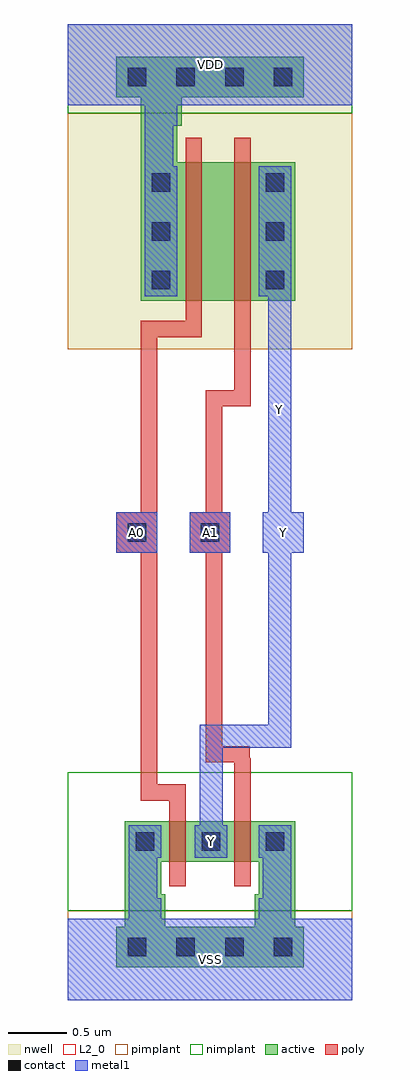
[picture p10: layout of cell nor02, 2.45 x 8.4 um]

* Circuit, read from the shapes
.subckt nor02 A0 A1 VDD VSS Y
M1 Y A0 VSS VSS nfet w=0.35u l=0.14u
M2 VSS A1 Y VSS nfet w=0.35u l=0.14u
M3 n1 A0 VDD VDD pfet w=1.19u l=0.14u
M4 Y A1 n1 VDD pfet w=1.19u l=0.14u
.ends

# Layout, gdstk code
from math import pi, radians
import gdstk
lib = gdstk.Library(unit=1e-6, precision=1e-09)
def R(c, l, rs):  # rectangles x0, y0, x1, y1
    for r in rs: c.add(gdstk.rectangle(r[:2], r[2:], *l))
def A(c, l, x, y, w, h, nx, ny, dx, dy):  # array of equal rectangles
    R(c, l, [(x+i*dx, y+j*dy, x+i*dx+w, y+j*dy+h) for i in range(nx) for j in range(ny)])
def P(c, l, *ps):  # polygons
    for p in ps: c.add(gdstk.Polygon(p, *l))
L2_0 = (2, 0)
nwell = (3, 0)
active = (6, 0)
poly = (17, 0)
pimplant = (25, 0)
nimplant = (26, 0)
contact = (30, 0)
metal1 = (31, 0)

adk_poly_m1 = lib.new_cell('ADK_poly_m1')
R(adk_poly_m1, poly, [(-0.175,-0.175,0.175,0.175)])
R(adk_poly_m1, contact, [(-0.08,-0.08,0.08,0.08)])
R(adk_poly_m1, metal1, [(-0.175,-0.175,0.175,0.175)])

nor02 = lib.new_cell('nor02')
R(nor02, L2_0, [(0,0,2.45,1.96)])
R(nor02, nwell, [(0,5.6,2.45,8.4), (0.14,5.6,2.45,7.63)])
R(nor02, active, [(0.42,0.28,2.03,0.63), (0.49,0.63,0.84,0.91), (1.61,0.63,1.96,0.91), (0.49,0.91,0.805,1.19), (1.645,0.91,1.96,1.19), (0.49,1.19,0.875,1.54), (0.49,1.19,1.96,1.54), (1.575,1.19,1.96,1.54), (0.63,6.02,1.015,7.21), (0.63,6.02,1.96,7.21), (1.575,6.02,1.96,7.21), (0.63,7.21,0.945,7.525), (0.63,7.525,0.98,7.77), (0.42,7.77,2.03,8.12)])
R(nor02, poly, [(0.875,0.98,1.015,1.19), (1.435,0.98,1.575,1.19), (0.875,1.19,1.015,1.54), (1.435,1.19,1.575,1.54), (0.875,1.54,1.015,1.75), (1.435,1.54,1.575,2.08), (1.015,5.81,1.155,6.02), (1.435,5.81,1.575,6.02), (1.015,6.02,1.155,7.21), (1.435,6.02,1.575,7.21), (1.015,7.21,1.155,7.42), (1.435,7.21,1.575,7.42)])
P(nor02, poly, [(1.19,2.045),(1.565,2.045),(1.565,2.185),(1.33,2.185),(1.33,3.85),(1.19,3.85)],
  [(1.19,4.2),(1.33,4.2),(1.33,5.11),(1.575,5.11),(1.575,5.845),(1.435,5.845),(1.435,5.25),(1.19,5.25)],
  [(1.015,1.855),(0.77,1.855),(0.77,3.85),(0.63,3.85),(0.63,1.715),(1.015,1.715)],
  [(1.155,5.845),(0.63,5.845),(0.63,4.2),(0.77,4.2),(0.77,5.705),(1.155,5.705)])
R(nor02, pimplant, [(0,0,2.45,0.77), (0,5.6,2.45,7.63)])
R(nor02, nimplant, [(0,0.77,2.45,1.96), (0,7.63,2.45,8.4)])
A(nor02, contact, 0.515, 0.375, 0.16, 0.16, 4, 2, 0.42, 7.49)
A(nor02, contact, 0.725, 6.115, 0.16, 0.16, 1, 3, 0, 0.42)
A(nor02, contact, 1.705, 6.115, 0.16, 0.16, 1, 3, 0, 0.42)
R(nor02, contact, [(0.585,1.285,0.745,1.445), (1.155,1.285,1.315,1.445), (1.705,1.285,1.865,1.445)])
A(nor02, metal1, 0.42, 3.85, 0.35, 0.35, 3, 1, 0.63, 0)
R(nor02, metal1, [(0,0,2.45,0.7), (0.525,0.7,0.805,0.875), (1.645,0.7,1.925,0.875), (0.525,0.875,0.77,1.225), (1.68,0.875,1.925,1.225), (0.525,1.225,0.805,1.505), (1.095,1.225,1.375,1.505), (1.645,1.225,1.925,1.505), (1.68,3.85,2.03,4.2), (1.725,3.915,1.925,6.255), (0.665,6.055,0.945,7.175), (1.645,6.055,1.925,7.175), (0.665,7.175,0.91,7.525), (0.665,7.525,0.945,7.7), (0,7.7,2.45,8.4)])
P(nor02, metal1, [(1.135,1.265),(1.335,1.265),(1.335,2.17),(1.925,2.17),(1.925,4.115),(1.725,4.115),(1.725,2.37),(1.135,2.37)])
nor02.add(gdstk.Reference(adk_poly_m1, (0.595,4.025), x_reflection=True))
nor02.add(gdstk.Reference(adk_poly_m1, (1.225,4.025), rotation=pi))
nor02.add(gdstk.Label('A1', (1.225,4.025), layer=131, texttype=0))
nor02.add(gdstk.Label('Y', (1.855,4.025), layer=131, texttype=0))
nor02.add(gdstk.Label('A0', (0.595,4.025), layer=131, texttype=0))
nor02.add(gdstk.Label('VSS', (1.225,0.35), layer=131, texttype=0))
nor02.add(gdstk.Label('VDD', (1.225,8.05), layer=131, texttype=0))
nor02.add(gdstk.Label('A1', (1.225,4.025), layer=31, texttype=0))
nor02.add(gdstk.Label('Y', (1.855,4.025), layer=31, texttype=0))
nor02.add(gdstk.Label('Y', (1.825,5.085), layer=31, texttype=0))
nor02.add(gdstk.Label('Y', (1.235,1.365), layer=31, texttype=0))
nor02.add(gdstk.Label('A0', (0.595,4.025), layer=31, texttype=0))
nor02.add(gdstk.Label('VSS', (1.225,0.35), layer=31, texttype=0))
nor02.add(gdstk.Label('VDD', (1.225,8.05), layer=31, texttype=0))

lib.write_gds('nor02.gds')
